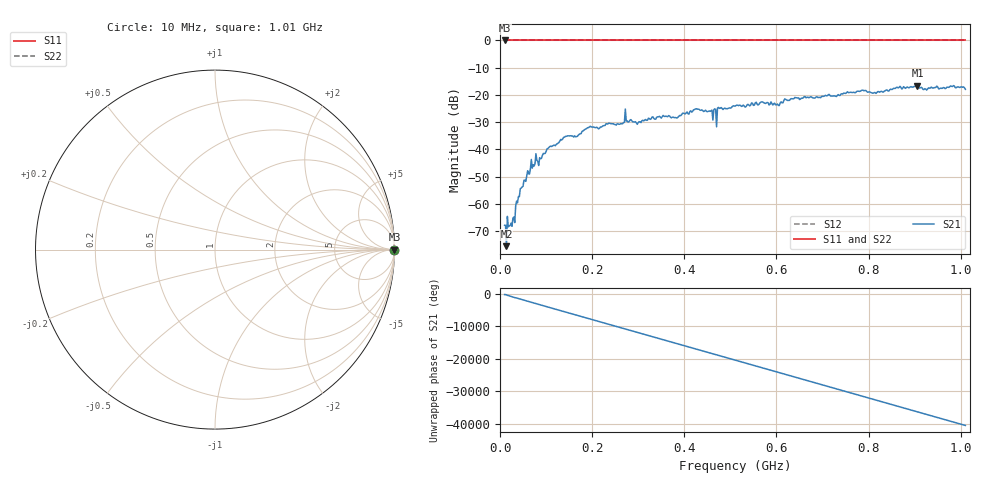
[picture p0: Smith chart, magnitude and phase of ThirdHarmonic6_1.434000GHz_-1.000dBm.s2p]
! 8/16/2025 4:33:15 PM
! C:\ANRITSUVNA\TEMP\TEMP.S2P
! CHANNEL.1
! TR.MEASUREMENT
! RAW.DATA
! RF.CORRECTION.OFF
! AVERAGING.OFF
! IF.BANDWIDTH: 5KHZ
! SWEEPTYPE:  FREQ.SWEEP(Linear)
! Reference Plane Port Info
! PORT:  PORT1  PORT2
! DISTANCE:  0  m  0  m
! TIME:  0  s  0  s
! PHASE.OFFSET:  0  deg.  0  deg.
! LOSS:  0  dB  0  dB
! REF.LOSS:  0  dB  0  dB
! REF.FREQ:  0  Hz  0  Hz
! Power Info
! POWER:  -20  dBm  -20  dBm
! EFF.POWER:  -20  dBm  -20  dBm
! SOURCE.ATTEN:  0  dB  0  dB
! TEST.ATTEN:  0  dB  0  dB
# GHZ S RI R 50.0
! FREQ.GHZ  S11RE  S11IM  S21RE  S21IM  S12RE  S12IM  S22RE  S22IM
!; PortSelection: Port_12
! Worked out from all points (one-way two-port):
!   501 points, 10 MHz to 1.01 GHz, reference 50 ohm
!   highest |S21| = -16.58 dB at 906 MHz (marker M1); lowest = -75.6 dB at 14 MHz (marker M2)
!   lowest |S11| = 0.0 dB at 10 MHz (marker M3)
!   |S11| at or under -10 dB: nowhere
!   |S22| runs from 0.0 to 0.0 dB; largest |S21 - S12| = 1.1
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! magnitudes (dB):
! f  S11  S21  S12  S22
! 10 MHz  0.0  -67.9  0.0  0.0
! 14 MHz  0.0  -75.6  0.0  0.0
! 28 MHz  0.0  -65.3  0.0  0.0
! 48 MHz  0.0  -53.8  0.0  0.0
! 76 MHz  0.0  -45.2  0.0  0.0
! 142 MHz  0.0  -35.2  0.0  0.0
! 178 MHz  0.0  -33.4  0.0  0.0
! 194 MHz  0.0  -31.8  0.0  0.0
! 262 MHz  0.0  -30.5  0.0  0.0
! 272 MHz  0.0  -25.2  0.0  0.0
! 300 MHz  0.0  -30.2  0.0  0.0
! 344 MHz  0.0  -28.1  0.0  0.0
! 382 MHz  0.0  -28.4  0.0  0.0
! 428 MHz  0.0  -25.2  0.0  0.0
! 466 MHz  0.0  -25.1  0.0  0.0
! 476 MHz  0.0  -25.0  0.0  0.0
! 510 MHz  0.0  -24.1  0.0  0.0
! 602 MHz  0.0  -23.3  0.0  0.0
! 678 MHz  0.0  -21.1  0.0  0.0
! 844 MHz  0.0  -18.5  0.0  0.0
! 906 MHz  0.0  -16.6  0.0  0.0
! 1.01 GHz  0.0  -17.9  0.0  0.0
